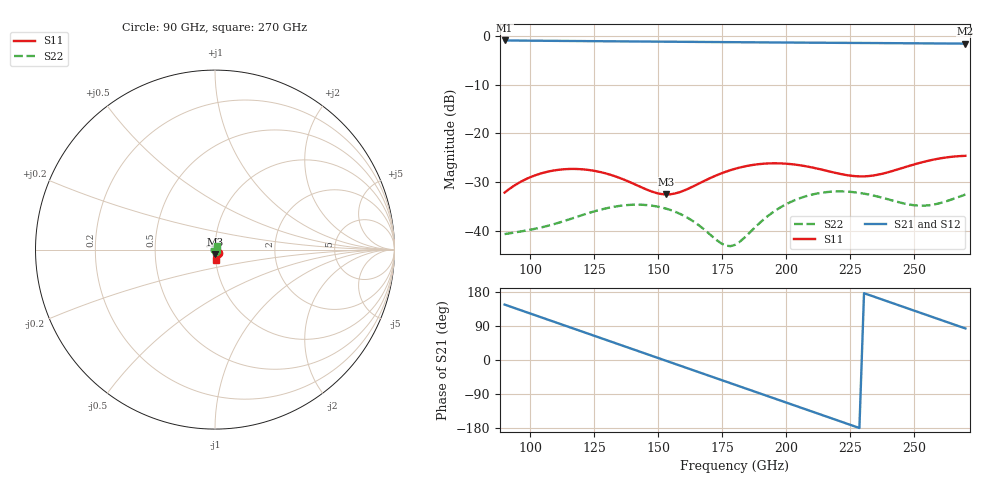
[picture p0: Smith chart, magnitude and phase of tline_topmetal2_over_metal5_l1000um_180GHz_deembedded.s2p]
! Created with skrf 2.0.1 (http://scikit-rf.org).
# GHz S DB R 50.0
!freq dBS11 angS11 dBS21 angS21 dBS12 angS12 dBS22 angS22
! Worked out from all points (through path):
!   101 points, 90 GHz to 270 GHz, reference 50 ohm
!   highest |S21| = -0.99 dB at 90 GHz (marker M1); lowest = -1.6 dB at 270 GHz (marker M2)
!   group delay of S21, straight-line fit = 6.53 ps
!   lowest |S11| = -32.5 dB at 153 GHz (marker M3), VSWR 1.05, Z = 50.2 - j2.37 ohm
!   |S11| at or under -10 dB: start of sweep to end of sweep
!   |S22| runs from -43.1 to -31.9 dB; largest |S21 - S12| = 1.5e-13
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90  -32.09 -45.1  -0.99 146.2  -0.99 146.2  -40.58 -50.9
99  -29.19 -53.2  -1.03 125.1  -1.03 125.1  -39.79 -41.6
106.2  -27.90 -63.1  -1.06 108.1  -1.06 108.1  -38.98 -36.9
113.4  -27.32 -73.7  -1.09 91.2  -1.09 91.2  -37.89 -34.8
120.6  -27.34 -83.9  -1.12 74.3  -1.12 74.3  -36.65 -36.9
127.8  -27.95 -92.6  -1.14 57.4  -1.14 57.4  -35.55 -43.4
136.8  -29.48 -99.2  -1.18 36.2  -1.18 36.2  -34.70 -56.8
144  -31.14 -97.9  -1.21 19.3  -1.21 19.3  -34.60 -71.0
151.2  -32.39 -87.6  -1.23 2.4  -1.23 2.4  -35.12 -88.1
153  -32.48 -83.9  -1.24 -1.9  -1.24 -1.9  -35.37 -92.8
165.6  -30.33 -65.2  -1.29 -31.5  -1.29 -31.5  -38.67 -135.3
174.6  -28.18 -65.8  -1.32 -52.6  -1.32 -52.6  -42.48 170.1
180  -27.23 -69.3  -1.34 -65.3  -1.34 -65.3  -42.78 121.0
187.2  -26.42 -75.7  -1.37 -82.2  -1.37 -82.2  -39.51 68.0
194.4  -26.11 -82.6  -1.39 -99.1  -1.39 -99.1  -36.27 33.8
201.6  -26.26 -88.8  -1.42 -116.0  -1.42 -116.0  -34.05 6.7
210.6  -27.01 -93.9  -1.45 -137.2  -1.45 -137.2  -32.44 -24.2
219.6  -28.11 -93.5  -1.47 -158.3  -1.47 -158.3  -31.87 -55.0
226.8  -28.73 -88.1  -1.50 -175.2  -1.50 -175.2  -32.04 -80.9
241.2  -27.73 -74.7  -1.54 150.9  -1.54 150.9  -33.67 -141.9
255.6  -25.58 -75.3  -1.59 117.1  -1.59 117.1  -34.70 137.4
270  -24.58 -84.3  -1.63 83.2  -1.63 83.2  -32.50 59.6
